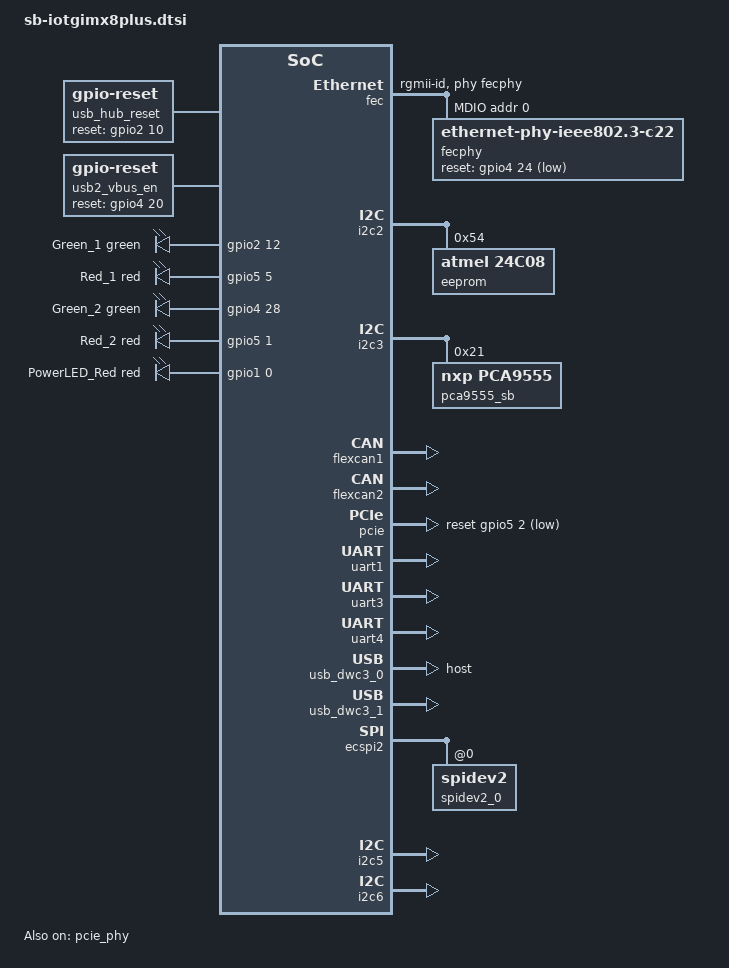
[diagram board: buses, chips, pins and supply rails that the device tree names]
// SPDX-License-Identifier: (GPL-2.0+ OR MIT)
/*
 * Copyright 2022 CompuLab Ltd
 */

#include <dt-bindings/leds/common.h>
#include <dt-bindings/net/realtek-rtl8211x.h>

/ {

	aliases {
		rtc0 = &ab1805_rtc;
		rtc1 = &snvs_rtc;
	};

	chosen {
		stdout-path = &uart2; /* console */
	};

	usb_hub_reset: usb-hub-reset {
		compatible = "gpio-reset";
		pinctrl-names = "default";
		pinctrl-0 = <&pinctrl_usb_hub_reset>;
		reset-gpios = <&gpio2 10 GPIO_ACTIVE_HIGH>;
		#reset-cells = <0>;
		initially-in-reset;
	};

	usb2_vbus_en: usb2-vbus-en {
		compatible = "gpio-reset";
		pinctrl-names = "default";
		pinctrl-0 = <&pinctrl_usb2_vbus_en>;
		reset-gpios = <&gpio4 20 GPIO_ACTIVE_HIGH>;
		#reset-cells = <0>;
		initially-in-reset;
	};

	user-leds {
		compatible = "gpio-leds";
		pinctrl-names = "default";
		pinctrl-0 = <&pinctrl_user_leds>;

		user-led-1-green {
			label = "Green_1";
			color = <LED_COLOR_ID_GREEN>;
			gpios = <&gpio2 12 GPIO_ACTIVE_HIGH>;
			default-state = "off";
		};
		user-led-1-red {
			label = "Red_1";
			color = <LED_COLOR_ID_RED>;
			gpios = <&gpio5 5 GPIO_ACTIVE_HIGH>;
			default-state = "off";
		};
		user-led-2-green {
			label = "Green_2";
			color = <LED_COLOR_ID_GREEN>;
			gpios = <&gpio4 28 GPIO_ACTIVE_HIGH>;
			default-state = "off";
		};
		user-led-2-red {
			label = "Red_2";
			color = <LED_COLOR_ID_RED>;
			gpios = <&gpio5 1 GPIO_ACTIVE_HIGH>;
			default-state = "off";
		};
		power-led-red {
			label = "PowerLED_Red";
			color = <LED_COLOR_ID_RED>;
			gpios = <&gpio1 0 GPIO_ACTIVE_HIGH>;
			default-state = "off";
		};
	};
};

&cpu_alert0 {
	temperature = <100000>;
};

&cpu_crit0 {
	temperature = <105000>;
};

&soc_alert0 {
	temperature = <100000>;
};

&soc_crit0 {
	temperature = <105000>;
};

&gpio1 {
	gpio-line-names = "PowerLED_Red", "", "", "PMIC IRQ", "",
			"", "", "", "", "",
			"ECOS PHY Reset", "", "Heartbeat LED", "", "",
			"USB MUX Sel", "", "", "", "",
			"", "", "", "", "",
			"", "", "", "", "";
	status = "okay";
};

&fec {
	pinctrl-names = "default";
	pinctrl-0 = <&pinctrl_fec>, <&pinctrl_fec_phy_reset>;
	phy-mode = "rgmii-id";
	phy-handle = <&fecphy>;
	fsl,magic-packet;
	status = "okay";

	mdio {
		#address-cells = <1>;
		#size-cells = <0>;

		fecphy: fec-phy@0 {
			compatible = "ethernet-phy-ieee802.3-c22";
			reg = <0>;
			reset-gpios = <&gpio4 24 GPIO_ACTIVE_LOW>;
			reset-assert-us = <10000>;
			reset-deassert-us = <80000>;
			eee-broken-1000t;
			realtek,clkout-disable;
			realtek,led-modes = <
				PHY_LED_LINK_ACTIVITY
				PHY_LED_OFF
				PHY_LED_LINK
			>;
		};
	};
};

&eqosphy {
	realtek,led-modes = <
		PHY_LED_LINK_ACTIVITY
		PHY_LED_LINK
		PHY_LED_OFF
	>;
};

&i2c2 {
	eeprom@54 {
		compatible = "atmel,24c08";
		reg = <0x54>;
		pagesize = <16>;
	};
};

&i2c3 {
	status = "okay";

	pca9555_sb:pca9555-sb@21 {
		compatible = "nxp,pca9555";
		gpio-controller;
		#gpio-cells = <2>;
		reg = <0x21>;
		gpio-line-names =
			"POD1_DET1", "POD1_DET2", "POD1_DET3", 
			"POD2_DET1", "POD2_DET2", "POD2_DET3",
			"POD3_DET1", "POD3_DET2", "POD3_DET3",
			"POD4_DET1", "POD4_DET2", "POD4_DET3",
			"GPIO_IE_A", "GPIO_IE_B", "GPIO_IE_C",
			"RF_KILL#";
	};
};

&flexcan1 {
	status = "okay";
};

&flexcan2 {
	status = "okay";
};

&pcie {
	pinctrl-names = "default";
	pinctrl-0 = <&pinctrl_pcie>;
	reset-gpio = <&gpio5 2 GPIO_ACTIVE_LOW>;
	status = "okay";
};

&pcie_phy {
	status = "okay";
};

&uart1 {
	/* IE-RS232/RS485 slot A */
	status = "okay";
};

&uart3 {
	/* IE-RS232/RS485 slot B */
	status = "okay";
};

&uart4 {
	/* IE-RS232/RS485 slot C */
	status = "okay";
};

&usb_dwc3_0 {
	dr_mode = "host";
	status = "okay";
};

&usb_dwc3_1 {
	pinctrl-names = "default";
	pinctrl-0 = <&pinctrl_usb_mux_sel>;
	status = "okay";
};

/***** EXPANSION CONNECTOR - Begin *****/

&ecspi2 {
	status = "okay";

	spidev2_0: spidev2@0 {
		status = "okay";
	};
};

&i2c5 {
	status = "okay";
};

&i2c6 {
	status = "okay";
};

/***** EXPANSION CONNECTOR - End *****/

&iomuxc {
	pinctrl-names = "default";
	pinctrl-0 = <&pinctrl_ie_di4o4>;

	pinctrl_fec: fecgrp {
		fsl,pins = <
			MX8MP_IOMUXC_SD1_CLK__ENET1_MDC				0x2
			MX8MP_IOMUXC_SD1_CMD__ENET1_MDIO			0x2
			MX8MP_IOMUXC_SD1_DATA2__ENET1_RGMII_RD0			0x90
			MX8MP_IOMUXC_SD1_DATA3__ENET1_RGMII_RD1			0x90
			MX8MP_IOMUXC_SAI1_RXD6__ENET1_RGMII_RD2			0x90
			MX8MP_IOMUXC_SAI1_RXD7__ENET1_RGMII_RD3			0x90
			MX8MP_IOMUXC_SAI1_TXC__ENET1_RGMII_RXC			0x90
			MX8MP_IOMUXC_SAI1_TXFS__ENET1_RGMII_RX_CTL		0x90
			MX8MP_IOMUXC_SD1_DATA1__ENET1_RGMII_TD0			0x14
			MX8MP_IOMUXC_SD1_DATA0__ENET1_RGMII_TD1			0x14
			MX8MP_IOMUXC_SAI1_TXD2__ENET1_RGMII_TD2			0x14
			MX8MP_IOMUXC_SAI1_TXD3__ENET1_RGMII_TD3			0x14
			MX8MP_IOMUXC_SAI1_TXD4__ENET1_RGMII_TX_CTL		0x14
			MX8MP_IOMUXC_SAI1_TXD5__ENET1_RGMII_TXC			0x16
		>;
	};

	pinctrl_fec_phy_reset: fecphyrstgrp {
		fsl,pins = <
			MX8MP_IOMUXC_SAI2_TXFS__GPIO4_IO24			0x10
		>;
	};

	pinctrl_ie_di4o4: iedi4o4grp {
		fsl,pins = <
			MX8MP_IOMUXC_SPDIF_TX__GPIO5_IO03			0x00  /* DI4O4 IN0 */
			MX8MP_IOMUXC_SAI3_TXC__GPIO5_IO00			0x00  /* DI4O4 IN1 */
			MX8MP_IOMUXC_SAI3_TXFS__GPIO4_IO31			0x00  /* DI4O4 IN2 */
			MX8MP_IOMUXC_SAI3_RXC__GPIO4_IO29			0x00  /* DI4O4 IN3 */
			MX8MP_IOMUXC_SAI3_RXD__GPIO4_IO30			0x100 /* DI4O4 OUT0 */
			MX8MP_IOMUXC_SPDIF_RX__GPIO5_IO04			0x100 /* DI4O4 OUT1 */
			MX8MP_IOMUXC_GPIO1_IO01__GPIO1_IO01			0x100 /* DI4O4 OUT2 */
			MX8MP_IOMUXC_SAI1_TXD0__GPIO4_IO12			0x100 /* DI4O4 OUT3 */
		>;
	};

	pinctrl_pcie: pciegrp {
		fsl,pins = <
			MX8MP_IOMUXC_SAI3_MCLK__GPIO5_IO02			0x40
		>;
	};

	pinctrl_usb_hub_reset: usbhubrst {
		fsl,pins = <
			MX8MP_IOMUXC_SD1_RESET_B__GPIO2_IO10			0x100
		>;
	};

	pinctrl_usb_mux_sel: usbmuxselgrp {
		fsl,pins = <
			MX8MP_IOMUXC_GPIO1_IO15__GPIO1_IO15			0x114
		>;
	};

	pinctrl_usb2_vbus_en: usb2vbusengrp {
		fsl,pins = <
			MX8MP_IOMUXC_SAI1_MCLK__GPIO4_IO20			0x154
		>;
	};

	pinctrl_user_leds: userledsgrp {
		fsl,pins = <
			MX8MP_IOMUXC_SD2_CD_B__GPIO2_IO12			0x110
			MX8MP_IOMUXC_SPDIF_EXT_CLK__GPIO5_IO05			0x110
			MX8MP_IOMUXC_SAI3_TXD__GPIO5_IO01			0x110
			MX8MP_IOMUXC_SAI3_RXFS__GPIO4_IO28			0x110
		>;
	};
};
